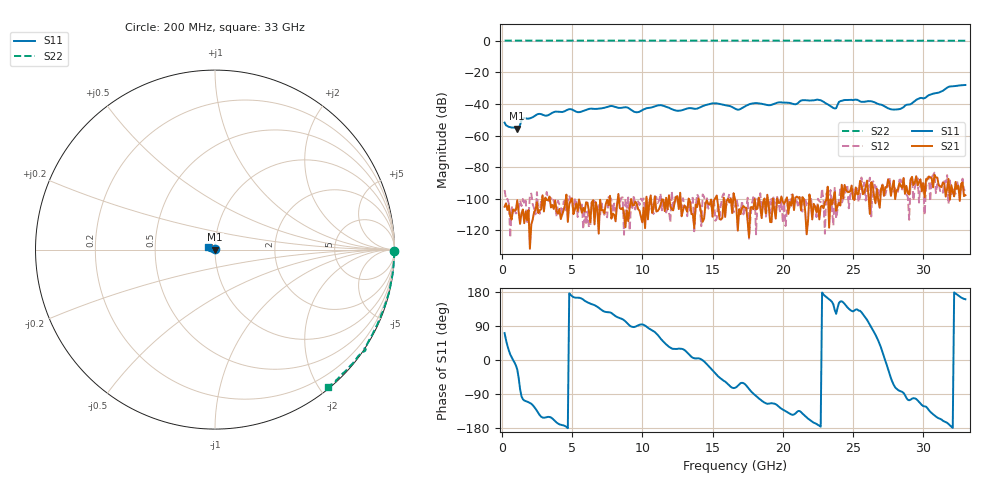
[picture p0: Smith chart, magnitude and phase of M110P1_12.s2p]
# GHZ S RI R 50
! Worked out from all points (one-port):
!   329 points, 200 MHz to 33 GHz, reference 50 ohm
!   lowest |S11| = -55.6 dB at 1.1 GHz (marker M1), VSWR 1.00, Z = 50.2 - j0.07 ohm
!   |S11| at or under -10 dB: start of sweep to end of sweep
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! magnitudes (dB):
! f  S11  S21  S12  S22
! 200 MHz  -51.9  -105.0  -94.4  0.0
! 1.1 GHz  -55.6  -100.9  -108.8  0.0
! 1.5 GHz  -49.2  -106.7  -100.1  0.0
! 2.6 GHz  -46.4  -109.0  -107.3  0.0
! 5.7 GHz  -44.8  -108.8  -103.6  0.0
! 7.8 GHz  -41.3  -112.5  -100.6  0.0
! 9.6 GHz  -45.3  -102.9  -103.0  0.0
! 11.2 GHz  -40.9  -106.3  -101.1  0.0
! 12.5 GHz  -44.3  -98.3  -101.7  0.0
! 15 GHz  -39.7  -111.3  -102.7  0.0
! 16.6 GHz  -43.0  -100.2  -105.0  0.0
! 18 GHz  -39.6  -100.1  -98.0  0.0
! 20.9 GHz  -40.3  -99.4  -102.3  0.0
! 22.1 GHz  -37.8  -113.0  -105.8  0.0
! 22.7 GHz  -37.7  -105.0  -102.1  0.0
! 23.7 GHz  -42.9  -95.8  -92.6  0.0
! 24.3 GHz  -37.7  -99.6  -100.1  0.0
! 26.3 GHz  -38.3  -89.5  -111.1  0.0
! 27.6 GHz  -43.1  -90.6  -86.5  -0.1
! 28.4 GHz  -43.1  -91.9  -87.9  -0.1
! 31.8 GHz  -29.3  -87.4  -103.3  0.0
! 33 GHz  -28.1  -97.7  -94.3  -0.1
